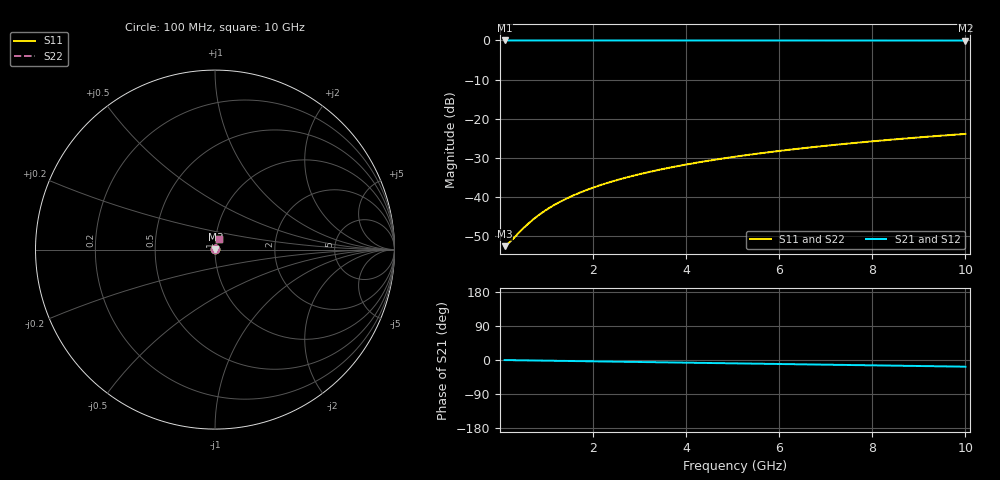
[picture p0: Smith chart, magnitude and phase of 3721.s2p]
# Hz S RI R 50.00
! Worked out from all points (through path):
!   100 points, 100 MHz to 10 GHz, reference 50 ohm
!   highest |S21| = -0.02 dB at 100 MHz (marker M1); lowest = 0.0 dB at 10 GHz (marker M2)
!   group delay of S21, straight-line fit = 4.89 ps
!   lowest |S11| = -52.5 dB at 100 MHz (marker M3), VSWR 1.00, Z = 50.2 + j0.0646 ohm
!   |S11| at or under -10 dB: start of sweep to end of sweep
!   |S22| runs from -52.5 to -23.9 dB; largest |S21 - S12| = 0
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1e8  0.00228 0.000643  0.9977 -0.00306  0.9977 -0.00306  0.00228 0.000643
2e8  0.0023 0.00129  0.9977 -0.00612  0.9977 -0.00612  0.0023 0.00129
5e8  0.00236 0.00321  0.9976 -0.0153  0.9976 -0.0153  0.00236 0.00321
6e8  0.00239 0.00386  0.9975 -0.0183  0.9975 -0.0183  0.00239 0.00386
7e8  0.00242 0.0045  0.9974 -0.0214  0.9974 -0.0214  0.00242 0.0045
9e8  0.00249 0.00578  0.9972 -0.0275  0.9972 -0.0275  0.00249 0.00578
1.1e9  0.00258 0.00707  0.997 -0.0336  0.997 -0.0336  0.00258 0.00707
1.3e9  0.00268 0.00835  0.9968 -0.0397  0.9968 -0.0397  0.00268 0.00835
1.5e9  0.0028 0.00963  0.9965 -0.0459  0.9965 -0.0459  0.0028 0.00963
1.8e9  0.003 0.0115  0.996 -0.055  0.996 -0.055  0.003 0.0115
2.1e9  0.00324 0.0135  0.9954 -0.0642  0.9954 -0.0642  0.00324 0.0135
2.5e9  0.00361 0.016  0.9945 -0.0764  0.9945 -0.0764  0.00361 0.016
2.9e9  0.00404 0.0185  0.9934 -0.0886  0.9934 -0.0886  0.00404 0.0185
3.4e9  0.00467 0.0217  0.9919 -0.1038  0.9919 -0.1038  0.00467 0.0217
3.8e9  0.00524 0.0242  0.9904 -0.116  0.9904 -0.116  0.00524 0.0242
4.2e9  0.00587 0.0267  0.9889 -0.1281  0.9889 -0.1281  0.00587 0.0267
5.1e9  0.00752 0.0322  0.9847 -0.1554  0.9847 -0.1554  0.00752 0.0322
5.9e9  0.00923 0.0371  0.9804 -0.1795  0.9804 -0.1795  0.00923 0.0371
6.7e9  0.0112 0.0418  0.9755 -0.2035  0.9755 -0.2035  0.0112 0.0418
7.5e9  0.0134 0.0465  0.9699 -0.2274  0.9699 -0.2274  0.0134 0.0465
8.4e9  0.0161 0.0516  0.9629 -0.2542  0.9629 -0.2542  0.0161 0.0516
1e10  0.0217 0.0602  0.9486 -0.3011  0.9486 -0.3011  0.0217 0.0602
